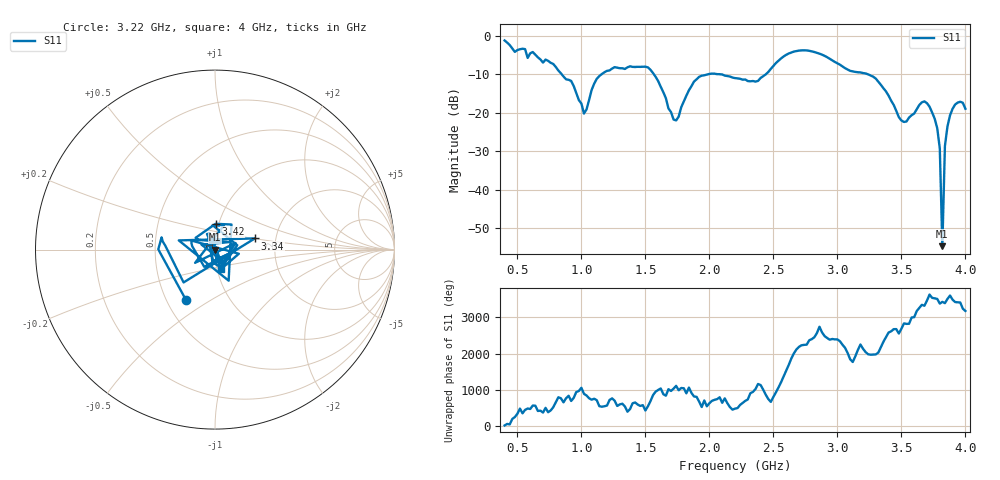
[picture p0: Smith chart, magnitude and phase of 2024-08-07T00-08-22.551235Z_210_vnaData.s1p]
!Created with skrf (http://scikit-rf.org).
# Hz S RI R 50.0
!freq ReS11 ImS11
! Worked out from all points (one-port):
!   181 points, 400 MHz to 4 GHz, reference 50 ohm
!   lowest |S11| = -54.6 dB at 3.82 GHz (marker M1), VSWR 1.00, Z = 49.8 + j0.00764 ohm
!   |S11| at or under -10 dB: 1.566 GHz to 1.988 GHz (421.4 MHz wide, 23.7 % of centre); 2.09 GHz to 2.441 GHz (350.4 MHz wide, 15.5 % of centre); 3.24 GHz to end of sweep (the widest 3 of 4)
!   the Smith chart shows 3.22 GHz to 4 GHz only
!   S11 on the Smith chart (normalised r, x): 3.22 GHz: 0.63, -0.40; 3.34 GHz: 1.55, +0.20; 3.42 GHz: 0.97, +0.28; 4 GHz: 1.04, -0.23
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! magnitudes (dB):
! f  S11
! 400 MHz  -1.2
! 860 MHz  -10.6
! 920 MHz  -11.7
! 1.02 GHz  -20.2
! 1.12 GHz  -11.2
! 1.3 GHz  -8.4
! 1.52 GHz  -8.2
! 1.6 GHz  -11.8
! 1.72 GHz  -21.7
! 1.76 GHz  -21.0
! 1.92 GHz  -10.6
! 2.2 GHz  -11.0
! 2.38 GHz  -11.7
! 2.66 GHz  -4.1
! 3.1 GHz  -9.1
! 3.22 GHz  -9.8
! 3.34 GHz  -12.7
! 3.42 GHz  -16.8
! 3.5 GHz  -22.0
! 3.56 GHz  -21.2
! 3.68 GHz  -17.0
! 3.78 GHz  -24.0
! 3.8 GHz  -29.2
! 3.82 GHz  -54.6
! 3.84 GHz  -28.6
! 3.86 GHz  -23.5
! 3.92 GHz  -17.8
! 4 GHz  -18.9
